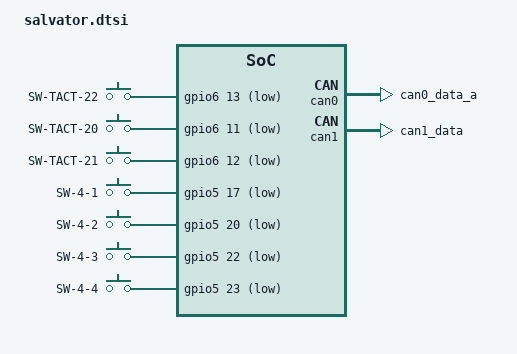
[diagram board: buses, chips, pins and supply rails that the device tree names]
/*
 * Device Tree Source for the Salvator board
 * Android specific extensions
 *
 * Copyright (C) 2018 GlobalLogic
 *
 * This file is licensed under the terms of the GNU General Public License
 * version 2.  This program is licensed "as is" without any warranty of any
 * kind, whether express or implied.
 */

#include <dt-bindings/input/linux-event-codes.h>

/ {
	memory_ch1: memory@48000000 {
	};

	memory_ch2: memory@500000000 {
	};

	memory_ch3: memory@600000000 {
	};

	memory_ch4: memory@700000000 {
	};

	/delete-node/keys;

	gpio_keys {
		compatible = "gpio-keys";

		power {
			label = "SW-TACT-22";
			gpios = <&gpio6 13 GPIO_ACTIVE_LOW>;
			linux,code = <116>;
			gpio-key,wakeup;
		};

		volume-up {
			label = "SW-TACT-20";
			gpios = <&gpio6 11 GPIO_ACTIVE_LOW>;
			linux,code = <115>;
		};

		volume-down {
			label = "SW-TACT-21";
			gpios = <&gpio6 12 GPIO_ACTIVE_LOW>;
			linux,code = <114>;
		};

		soft_sw0 {
			label = "SW-4-1";
			gpios = <&gpio5 17 GPIO_ACTIVE_LOW>;
			linux,code = <KEY_F4>;
		};

		soft_sw1 {
			label = "SW-4-2";
			gpios = <&gpio5 20 GPIO_ACTIVE_LOW>;
			linux,code = <KEY_F3>;
		};

		soft_sw2 {
			label = "SW-4-3";
			gpios = <&gpio5 22 GPIO_ACTIVE_LOW>;
			linux,code = <KEY_MEDIA>;
		};

		soft_sw3 {
			label = "SW-4-4";
			gpios = <&gpio5 23 GPIO_ACTIVE_LOW>;
			linux,code = <KEY_CANCEL>;
		};
	};

	vga-encoder {
		adi,clock-max-rate = <100000>;
	};

	lvds: lvds {
		port {
			lvds_in: endpoint {
				remote-endpoint = <&lvds0_out>;
			};
		};
	};

};

/delete-node/ &adsp_port0;
/delete-node/ &adsp_port1;
/delete-node/ &adsp_port2;
/delete-node/ &adsp_port3;
/delete-node/ &rsnd_port0;
/delete-node/ &ak4613_endpoint0;
/delete-node/ &ak4613_endpoint1;
/delete-node/ &ak4613_endpoint2;
/delete-node/ &ak4613_endpoint3;
/delete-node/ &ak4613_endpoint4;

&rcar_adsp_sound {
	status = "disabled";
};

&rcar_sound {

	/* Multi DAI */
	#sound-dai-cells = <1>;

	ports {
		#address-cells = <1>;
		#size-cells = <0>;

		rsnd_mix_port0: port@0 {
			reg = <0>;
			rsnd_mix_endpoint0: endpoint {
				remote-endpoint = <&ak4613_mix_endpoint0>;

				dai-format = "left_j";
				bitclock-master = <&rsnd_mix_endpoint0>;
				frame-master = <&rsnd_mix_endpoint0>;

				playback = <&src3 &ctu00 &mix0 &dvc0 &ssi0>;
				capture  = <&ssi1 &src1 &dvc1>;
			};
		};

		rsnd_mix_port1: port@1 {
			reg = <1>;
			rsnd_mix_endpoint1: endpoint {
				remote-endpoint = <&ak4613_mix_endpoint1>;

				dai-format = "left_j";
				bitclock-master = <&rsnd_mix_endpoint1>;
				frame-master = <&rsnd_mix_endpoint1>;

				playback = <&src4 &ctu01 &mix0 &dvc0 &ssi0>;
			};
		};

		rsnd_mix_port2: port@2 {
			reg = <2>;
			rsnd_mix_endpoint2: endpoint {
				remote-endpoint = <&ak4613_mix_endpoint2>;

				dai-format = "left_j";
				bitclock-master = <&rsnd_mix_endpoint2>;
				frame-master = <&rsnd_mix_endpoint2>;

				playback = <&src0 &ctu02 &mix0 &dvc0 &ssi0>;
			};
		};

		rsnd_mix_port3: port@3 {
			reg = <3>;
			rsnd_mix_endpoint3: endpoint {
				remote-endpoint = <&ak4613_mix_endpoint3>;

				dai-format = "left_j";
				bitclock-master = <&rsnd_mix_endpoint3>;
				frame-master = <&rsnd_mix_endpoint3>;

				playback = <&src2 &ctu03 &mix0 &dvc0 &ssi0>;
			};
		};
	};
};

&sound_card {

	routing = "ak4613 Playback", "DAI0 Playback",
	"DAI0 Capture", "ak4613 Capture",
	"ak4613 Playback", "DAI1 Playback",
	"ak4613 Playback", "DAI2 Playback",
	"ak4613 Playback", "DAI3 Playback";

	compatible = "audio-graph-scu-card";

	dais = <&rsnd_mix_port0
			&rsnd_mix_port1
			&rsnd_mix_port2
			&rsnd_mix_port3>;
};

&ak4613 {
	sound-name-prefix = "ak4613";

	port {
		#address-cells = <1>;
		#size-cells = <0>;

		ak4613_mix_endpoint0: endpoint@0 {
			reg = <0>;
			remote-endpoint = <&rsnd_mix_endpoint0>;
		};
		ak4613_mix_endpoint1: endpoint@1 {
			reg = <1>;
			remote-endpoint = <&rsnd_mix_endpoint1>;
		};
		ak4613_mix_endpoint2: endpoint@2 {
			reg = <2>;
			remote-endpoint = <&rsnd_mix_endpoint2>;
		};
		ak4613_mix_endpoint3: endpoint@3 {
			reg = <3>;
			remote-endpoint = <&rsnd_mix_endpoint3>;
		};
	};
};

&pfc {
	can0_pins: can0 {
		groups = "can0_data_a";
		function = "can0";
	};

	can1_pins: can1 {
		groups = "can1_data";
		function = "can1";
	};
};

&can0 {
	pinctrl-0 = <&can0_pins>;
	pinctrl-names = "default";
	status = "okay";
};

&can1 {
	pinctrl-0 = <&can1_pins>;
	pinctrl-names = "default";
	status = "okay";
};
